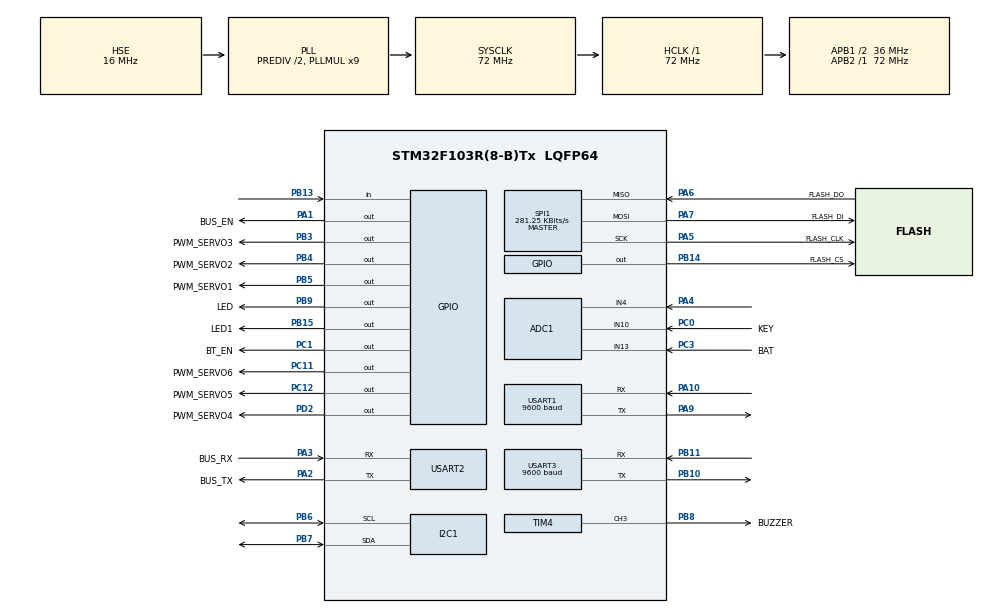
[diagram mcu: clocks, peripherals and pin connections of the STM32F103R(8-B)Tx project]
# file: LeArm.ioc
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ADC1.Channel-0\#ChannelRegularConversion=ADC_CHANNEL_13
ADC1.Channel-1\#ChannelRegularConversion=ADC_CHANNEL_10
ADC1.Channel-2\#ChannelRegularConversion=ADC_CHANNEL_4
ADC1.ContinuousConvMode=DISABLE
ADC1.DataAlign=ADC_DATAALIGN_RIGHT
ADC1.NbrOfConversion=3
ADC1.NbrOfConversionFlag=1
ADC1.Rank-0\#ChannelRegularConversion=1
ADC1.Rank-1\#ChannelRegularConversion=2
ADC1.Rank-2\#ChannelRegularConversion=3
ADC1.SamplingTime-0\#ChannelRegularConversion=ADC_SAMPLETIME_239CYCLES_5
ADC1.SamplingTime-1\#ChannelRegularConversion=ADC_SAMPLETIME_239CYCLES_5
ADC1.SamplingTime-2\#ChannelRegularConversion=ADC_SAMPLETIME_239CYCLES_5
ADC1.master=1
Dma.ADC1.1.Direction=DMA_PERIPH_TO_MEMORY
Dma.ADC1.1.Instance=DMA1_Channel1
Dma.ADC1.1.MemDataAlignment=DMA_MDATAALIGN_HALFWORD
Dma.ADC1.1.MemInc=DMA_MINC_ENABLE
Dma.ADC1.1.Mode=DMA_CIRCULAR
Dma.ADC1.1.PeriphDataAlignment=DMA_PDATAALIGN_HALFWORD
Dma.ADC1.1.PeriphInc=DMA_PINC_DISABLE
Dma.ADC1.1.Priority=DMA_PRIORITY_LOW
Dma.I2C1_RX.2.Direction=DMA_PERIPH_TO_MEMORY
Dma.I2C1_RX.2.Instance=DMA1_Channel7
Dma.I2C1_RX.2.MemDataAlignment=DMA_MDATAALIGN_BYTE
Dma.I2C1_RX.2.MemInc=DMA_MINC_ENABLE
Dma.I2C1_RX.2.Mode=DMA_NORMAL
Dma.I2C1_RX.2.PeriphDataAlignment=DMA_PDATAALIGN_BYTE
Dma.I2C1_RX.2.PeriphInc=DMA_PINC_DISABLE
Dma.I2C1_RX.2.Priority=DMA_PRIORITY_VERY_HIGH
Dma.Request0=USART1_RX
Dma.Request1=ADC1
Dma.Request2=I2C1_RX
Dma.Request3=USART3_RX
Dma.USART1_RX.0.Direction=DMA_PERIPH_TO_MEMORY
Dma.USART1_RX.0.Instance=DMA1_Channel5
Dma.USART1_RX.0.MemDataAlignment=DMA_MDATAALIGN_BYTE
Dma.USART1_RX.0.MemInc=DMA_MINC_ENABLE
Dma.USART1_RX.0.Mode=DMA_NORMAL
Dma.USART1_RX.0.PeriphDataAlignment=DMA_PDATAALIGN_BYTE
Dma.USART1_RX.0.PeriphInc=DMA_PINC_DISABLE
Dma.USART1_RX.0.Priority=DMA_PRIORITY_LOW
Dma.USART3_RX.3.Direction=DMA_PERIPH_TO_MEMORY
Dma.USART3_RX.3.Instance=DMA1_Channel3
Dma.USART3_RX.3.MemDataAlignment=DMA_MDATAALIGN_BYTE
Dma.USART3_RX.3.MemInc=DMA_MINC_ENABLE
Dma.USART3_RX.3.Mode=DMA_NORMAL
Dma.USART3_RX.3.PeriphDataAlignment=DMA_PDATAALIGN_BYTE
Dma.USART3_RX.3.PeriphInc=DMA_PINC_DISABLE
Dma.USART3_RX.3.Priority=DMA_PRIORITY_LOW
I2C1.I2C_Mode=I2C_Standard
Mcu.Family=STM32F1
Mcu.Name=STM32F103R(8-B)Tx
Mcu.Package=LQFP64
NVIC.DMA1_Channel1_IRQn=true\:0\:0\:false\:false\:true\:false\:true\:true
NVIC.DMA1_Channel3_IRQn=true\:0\:0\:false\:false\:true\:false\:true\:true
NVIC.DMA1_Channel5_IRQn=true\:0\:0\:false\:false\:true\:false\:true\:true
NVIC.DMA1_Channel7_IRQn=true\:0\:0\:false\:true\:true\:4\:false\:true\:true
NVIC.I2C1_EV_IRQn=true\:0\:0\:false\:false\:true\:true\:true\:true
NVIC.PriorityGroup=NVIC_PRIORITYGROUP_4
NVIC.TIM3_IRQn=true\:0\:0\:true\:false\:true\:true\:false\:true
NVIC.USART1_IRQn=true\:3\:0\:true\:true\:true\:1\:true\:true\:true
NVIC.USART2_IRQn=true\:2\:0\:true\:true\:true\:2\:true\:false\:true
NVIC.USART3_IRQn=true\:1\:0\:true\:true\:true\:3\:true\:true\:true
PA1.GPIO_Label=BUS_EN
PA1.GPIO_Speed=GPIO_SPEED_FREQ_HIGH
PA1.PinState=GPIO_PIN_SET
PA1.Signal=GPIO_Output
PA10.Mode=Asynchronous
PA10.Signal=USART1_RX
PA13.Mode=Serial_Wire
PA13.Signal=SYS_JTMS-SWDIO
PA14.Mode=Serial_Wire
PA14.Signal=SYS_JTCK-SWCLK
PA2.GPIO_Label=BUS_TX
PA2.Mode=Asynchronous
PA2.Signal=USART2_TX
PA3.GPIO_Label=BUS_RX
PA3.Mode=Asynchronous
PA3.Signal=USART2_RX
PA4.Signal=ADCx_IN4
PA5.GPIO_Label=FLASH_CLK
PA5.GPIO_Speed=GPIO_SPEED_FREQ_HIGH
PA5.Mode=Full_Duplex_Master
PA5.Signal=SPI1_SCK
PA6.GPIO_Label=FLASH_DO
PA6.GPIO_PuPd=GPIO_NOPULL
PA6.Mode=Full_Duplex_Master
PA6.Signal=SPI1_MISO
PA7.GPIO_Label=FLASH_DI
PA7.GPIO_Speed=GPIO_SPEED_FREQ_HIGH
PA7.Mode=Full_Duplex_Master
PA7.Signal=SPI1_MOSI
PA9.Mode=Asynchronous
PA9.Signal=USART1_TX
PB10.Mode=Asynchronous
PB10.Signal=USART3_TX
PB11.Mode=Asynchronous
PB11.Signal=USART3_RX
PB13.Signal=GPIO_Input
PB14.GPIO_Label=FLASH_CS
PB14.GPIO_PuPd=GPIO_PULLUP
PB14.GPIO_Speed=GPIO_SPEED_FREQ_LOW
PB14.PinState=GPIO_PIN_SET
PB14.Signal=GPIO_Output
PB15.GPIO_Label=LED1
PB15.PinState=GPIO_PIN_SET
PB15.Signal=GPIO_Output
PB3.GPIO_Label=PWM_SERVO3
PB3.GPIO_Speed=GPIO_SPEED_FREQ_HIGH
PB3.Signal=GPIO_Output
PB4.GPIO_Label=PWM_SERVO2
PB4.GPIO_Speed=GPIO_SPEED_FREQ_HIGH
PB4.Signal=GPIO_Output
PB5.GPIO_Label=PWM_SERVO1
PB5.GPIO_Speed=GPIO_SPEED_FREQ_HIGH
PB5.Signal=GPIO_Output
PB6.Mode=I2C
PB6.Signal=I2C1_SCL
PB7.Mode=I2C
PB7.Signal=I2C1_SDA
PB8.GPIO_Label=BUZZER
PB8.Signal=S_TIM4_CH3
PB9.GPIO_Label=LED
PB9.GPIO_ModeDefaultOutputPP=GPIO_MODE_OUTPUT_PP
PB9.GPIO_PuPd=GPIO_PULLUP
PB9.PinState=GPIO_PIN_SET
PB9.Signal=GPIO_Output
PC0.GPIO_Label=KEY
PC0.Signal=ADCx_IN10
PC1.GPIO_Label=BT_EN
PC1.GPIO_ModeDefaultOutputPP=GPIO_MODE_OUTPUT_PP
PC1.GPIO_PuPd=GPIO_NOPULL
PC1.GPIO_Speed=GPIO_SPEED_FREQ_LOW
PC1.PinState=GPIO_PIN_SET
PC1.Signal=GPIO_Output
PC11.GPIO_Label=PWM_SERVO6
PC11.GPIO_Speed=GPIO_SPEED_FREQ_HIGH
PC11.Signal=GPIO_Output
PC12.GPIO_Label=PWM_SERVO5
PC12.GPIO_Speed=GPIO_SPEED_FREQ_HIGH
PC12.Signal=GPIO_Output
PC3.GPIO_Label=BAT
PC3.Signal=ADCx_IN13
PD0-OSC_IN.Mode=HSE-External-Oscillator
PD0-OSC_IN.Signal=RCC_OSC_IN
PD1-OSC_OUT.Mode=HSE-External-Oscillator
PD1-OSC_OUT.Signal=RCC_OSC_OUT
PD2.GPIO_Label=PWM_SERVO4
PD2.GPIO_Speed=GPIO_SPEED_FREQ_HIGH
PD2.Signal=GPIO_Output
ProjectManager.HeapSize=0x200
ProjectManager.StackSize=0x400
ProjectManager.TargetToolchain=MDK-ARM V5.32
RCC.ADCPresc=RCC_ADCPCLK2_DIV6
RCC.AHBFreq_Value=72000000
RCC.APB1CLKDivider=RCC_HCLK_DIV2
RCC.APB1Freq_Value=36000000
RCC.APB1TimFreq_Value=72000000
RCC.APB2Freq_Value=72000000
RCC.APB2TimFreq_Value=72000000
RCC.HCLKFreq_Value=72000000
RCC.HSEDivPLL=RCC_HSE_PREDIV_DIV2
RCC.HSE_VALUE=16000000
RCC.PLLMUL=RCC_PLL_MUL9
RCC.PLLSourceVirtual=RCC_PLLSOURCE_HSE
RCC.SYSCLKFreq_VALUE=72000000
RCC.SYSCLKSource=RCC_SYSCLKSOURCE_PLLCLK
RCC.USBFreq_Value=72000000
SH.ADCx_IN10.0=ADC1_IN10,IN10
SH.ADCx_IN13.0=ADC1_IN13,IN13
SH.ADCx_IN4.0=ADC1_IN4,IN4
SH.S_TIM4_CH3.0=TIM4_CH3,PWM Generation3 CH3
SPI1.BaudRatePrescaler=SPI_BAUDRATEPRESCALER_256
SPI1.CLKPhase=SPI_PHASE_1EDGE
SPI1.CLKPolarity=SPI_POLARITY_LOW
SPI1.CRCCalculation=SPI_CRCCALCULATION_DISABLE
SPI1.CalculateBaudRate=281.25 KBits/s
SPI1.Direction=SPI_DIRECTION_2LINES
SPI1.Mode=SPI_MODE_MASTER
SPI1.VirtualType=VM_MASTER
TIM3.AutoReloadPreload=TIM_AUTORELOAD_PRELOAD_ENABLE
TIM3.Channel-Output\ Compare1\ No\ Output=TIM_CHANNEL_1
TIM3.Channel-Output\ Compare2\ No\ Output=TIM_CHANNEL_2
TIM3.OC1Preload=DISABLE
TIM3.OCMode_1=TIM_OCMODE_TIMING
TIM3.Period=4999
TIM3.Prescaler=71
TIM3.Pulse-Output\ Compare1\ No\ Output=0
TIM4.AutoReloadPreload=TIM_AUTORELOAD_PRELOAD_ENABLE
TIM4.Channel-PWM\ Generation3\ CH3=TIM_CHANNEL_3
TIM4.Period=4999
TIM4.Prescaler=71
USART1.BaudRate=9600
USART1.VirtualMode=VM_ASYNC
USART2.VirtualMode=VM_ASYNC
USART3.BaudRate=9600
USART3.Mode=MODE_RX
USART3.VirtualMode=VM_ASYNC
VP_TIM3_VS_ClockSourceINT.Mode=Internal
VP_TIM3_VS_no_output1.Mode=Output Compare1 No Output
VP_TIM3_VS_no_output2.Mode=Output Compare2 No Output
board=custom

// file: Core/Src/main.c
/* USER CODE BEGIN Header */
/**
  ******************************************************************************
  * @file           : main.c
  * @brief          : Main program body
  ******************************************************************************
  * @attention
  *
  * Copyright (c) 2024 STMicroelectronics.
  * All rights reserved.
  *
  * in the root directory of this software component.
  * If no LICENSE file comes with this software, it is provided AS-IS.
  *
  ******************************************************************************
  */
/* USER CODE END Header */
#include "main.h"
#include "adc.h"
#include "dma.h"
#include "i2c.h"
#include "spi.h"
#include "tim.h"
#include "usart.h"
#include "gpio.h"

/* USER CODE BEGIN Includes */

#include "global.h"
#include "stdio.h"
#include "stdlib.h"
#include "led.h"
#include "adc_sample.h"
#include "robot_arm.h"

/* USER CODE END Includes */

/* USER CODE BEGIN PV */
uint8_t bstate = 0;
uint8_t arm_select;
/* USER CODE END PV */

void SystemClock_Config(void);
static void MX_NVIC_Init(void);

/* USER CODE BEGIN 0 */
int fputc(int ch,FILE *f)
{
	/* 采用轮询方式发鿿1字节数据，超时时间设置为无限等待 */
	HAL_UART_Transmit(&huart1,(uint8_t *)&ch,1,HAL_MAX_DELAY);
	return ch;
}

/* USER CODE END 0 */

int main(void)
{

  /* MCU Configuration--------------------------------------------------------*/

  /* Reset of all peripherals, Initializes the Flash interface and the Systick. */
  HAL_Init();

  /* Configure the system clock */
  SystemClock_Config();

  /* USER CODE BEGIN SysInit */
  __HAL_RCC_I2C1_CLK_ENABLE();
  __HAL_RCC_DMA1_CLK_ENABLE();
  /* USER CODE END SysInit */

  /* Initialize all configured peripherals */
  MX_GPIO_Init();
  MX_DMA_Init();
  MX_TIM3_Init();
  MX_USART3_UART_Init();
  MX_SPI1_Init();
  MX_USART1_UART_Init();
  MX_ADC1_Init();
  MX_I2C1_Init();
  MX_TIM4_Init();
  MX_USART2_UART_Init();

  /* Initialize interrupts */
  MX_NVIC_Init();
  /* USER CODE BEGIN 2 */
  led_init();
  adc_sample_init();
  robot_arm_init();

  /* USER CODE END 2 */

  /* Infinite loop */
  while (1)
  {

    /* USER CODE BEGIN 3 */
	bstate = get_button_state();
	switch(bstate)
	{
		case 1:
			led_flash(1, 200, 200, 1);
			break;

		case 2:
			led_flash(2, 200, 200, 1);
			break;

		case 3:
			led_flash(1, 200, 200, 1);
			led_flash(2, 200, 200, 1);
			break;

	}
	HAL_Delay(400);
  }
  /* USER CODE END 3 */
}

void SystemClock_Config(void)
{
  RCC_OscInitTypeDef RCC_OscInitStruct = {0};
  RCC_ClkInitTypeDef RCC_ClkInitStruct = {0};
  RCC_PeriphCLKInitTypeDef PeriphClkInit = {0};

  /** Initializes the RCC Oscillators according to the specified parameters
  * in the RCC_OscInitTypeDef structure.
  */
  RCC_OscInitStruct.OscillatorType = RCC_OSCILLATORTYPE_HSE;
  RCC_OscInitStruct.HSEState = RCC_HSE_ON;
  RCC_OscInitStruct.HSEPredivValue = RCC_HSE_PREDIV_DIV2;
  RCC_OscInitStruct.HSIState = RCC_HSI_ON;
  RCC_OscInitStruct.PLL.PLLState = RCC_PLL_ON;
  RCC_OscInitStruct.PLL.PLLSource = RCC_PLLSOURCE_HSE;
  RCC_OscInitStruct.PLL.PLLMUL = RCC_PLL_MUL9;
  if (HAL_RCC_OscConfig(&RCC_OscInitStruct) != HAL_OK)
  {
    Error_Handler();
  }

  /** Initializes the CPU, AHB and APB buses clocks
  */
  RCC_ClkInitStruct.ClockType = RCC_CLOCKTYPE_HCLK|RCC_CLOCKTYPE_SYSCLK
                              |RCC_CLOCKTYPE_PCLK1|RCC_CLOCKTYPE_PCLK2;
  RCC_ClkInitStruct.SYSCLKSource = RCC_SYSCLKSOURCE_PLLCLK;
  RCC_ClkInitStruct.AHBCLKDivider = RCC_SYSCLK_DIV1;
  RCC_ClkInitStruct.APB1CLKDivider = RCC_HCLK_DIV2;
  RCC_ClkInitStruct.APB2CLKDivider = RCC_HCLK_DIV1;

  if (HAL_RCC_ClockConfig(&RCC_ClkInitStruct, FLASH_LATENCY_2) != HAL_OK)
  {
    Error_Handler();
  }
  PeriphClkInit.PeriphClockSelection = RCC_PERIPHCLK_ADC;
  PeriphClkInit.AdcClockSelection = RCC_ADCPCLK2_DIV6;
  if (HAL_RCCEx_PeriphCLKConfig(&PeriphClkInit) != HAL_OK)
  {
    Error_Handler();
  }
}

/**
  * @brief NVIC Configuration.
  * @retval None
  */
static void MX_NVIC_Init(void)
{
  /* USART1_IRQn interrupt configuration */
  HAL_NVIC_SetPriority(USART1_IRQn, 3, 0);
  HAL_NVIC_EnableIRQ(USART1_IRQn);
  /* USART2_IRQn interrupt configuration */
  HAL_NVIC_SetPriority(USART2_IRQn, 2, 0);
  HAL_NVIC_EnableIRQ(USART2_IRQn);
  /* USART3_IRQn interrupt configuration */
  HAL_NVIC_SetPriority(USART3_IRQn, 1, 0);
  HAL_NVIC_EnableIRQ(USART3_IRQn);
  /* DMA1_Channel7_IRQn interrupt configuration */
  HAL_NVIC_SetPriority(DMA1_Channel7_IRQn, 0, 0);
  HAL_NVIC_EnableIRQ(DMA1_Channel7_IRQn);
}

void Error_Handler(void)
{
  __disable_irq();
  while (1)
  {
  }
}
